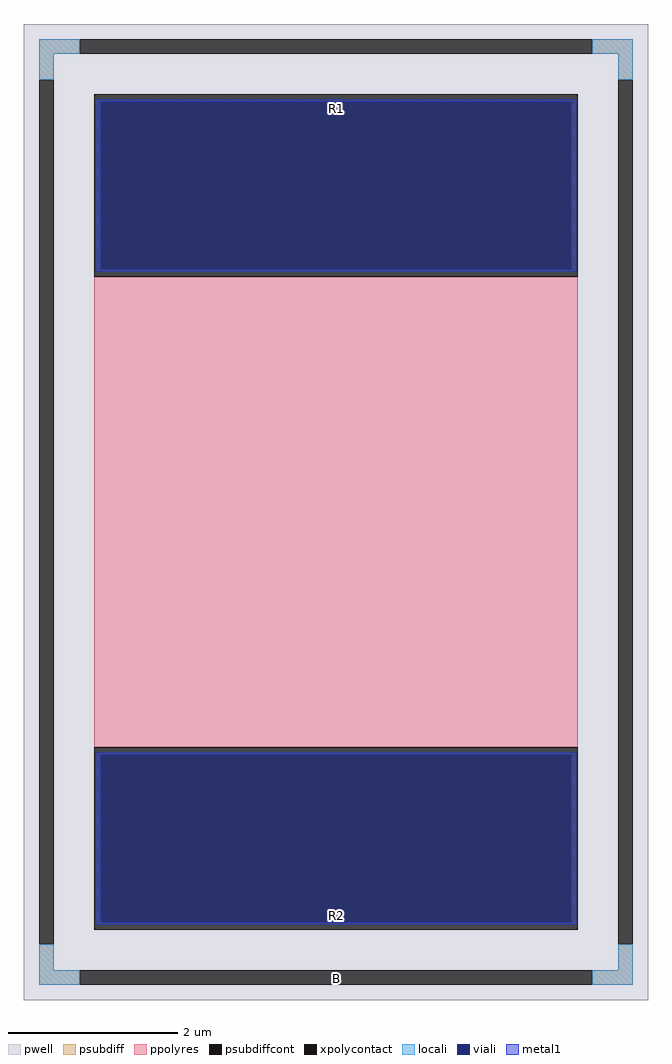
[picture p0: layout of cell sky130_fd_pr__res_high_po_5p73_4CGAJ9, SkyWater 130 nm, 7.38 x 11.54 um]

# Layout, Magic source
magic
tech sky130A
<< pwell >>
rect -369 -577 369 577
<< psubdiff >>
rect -351 542 -303 559
rect 303 542 351 559
rect -351 511 -334 542
rect 334 511 351 542
rect -351 -542 -334 -511
rect 334 -542 351 -511
rect -351 -559 -303 -542
rect 303 -559 351 -542
<< psubdiffcont >>
rect -303 542 303 559
rect -351 -511 -334 511
rect 334 -511 351 511
rect -303 -559 303 -542
<< xpolycontact >>
rect -286 278 286 494
rect -286 -494 286 -278
<< ppolyres >>
rect -286 -278 286 278
<< locali >>
rect -351 542 -303 559
rect 303 542 351 559
rect -351 511 -334 542
rect 334 511 351 542
rect -351 -542 -334 -511
rect 334 -542 351 -511
rect -351 -559 -303 -542
rect 303 -559 351 -542
<< viali >>
rect -278 287 278 485
rect -278 -485 278 -287
<< metal1 >>
rect -284 485 284 488
rect -284 287 -278 485
rect 278 287 284 485
rect -284 284 284 287
rect -284 -287 284 -284
rect -284 -485 -278 -287
rect 278 -485 284 -287
rect -284 -488 284 -485
<< labels >>
rlabel psubdiffcont 0 -551 0 -551 0 B
port 1 nsew
rlabel xpolycontact 0 477 0 477 0 R1
port 2 nsew
rlabel xpolycontact 0 -477 0 -477 0 R2
port 3 nsew
<< properties >>
string FIXED_BBOX -343 -551 343 551
string gencell sky130_fd_pr__res_high_po_5p73
string library sky130
string parameters w 5.730 l 5.73 m 1 nx 1 wmin 5.730 lmin 0.50 class resistor rho 319.8 val 387.799 dummy 0 dw 0.0 term 194.82 sterm 0.0 caplen 0 guard 1 glc 1 grc 1 gtc 1 gbc 1 compatible {sky130_fd_pr__res_high_po_0p35  sky130_fd_pr__res_high_po_0p69 sky130_fd_pr__res_high_po_1p41  sky130_fd_pr__res_high_po_2p85 sky130_fd_pr__res_high_po_5p73} snake 0 full_metal 1 wmax 5.730 n_guard 0 hv_guard 0 vias 1 viagb 0 viagt 0 viagl 0 viagr 0 doports 1
<< end >>
